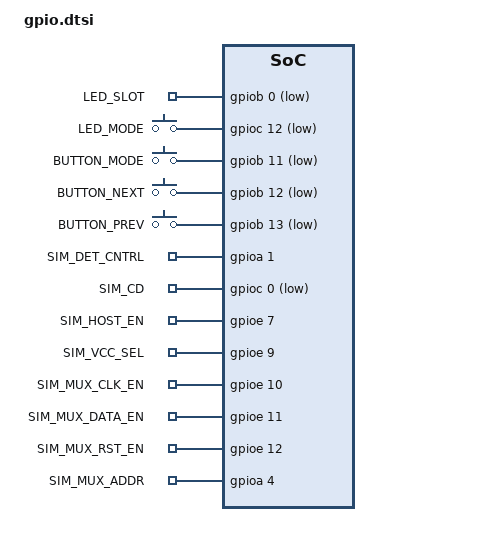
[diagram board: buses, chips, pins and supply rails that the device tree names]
/* Copyright 2023 The Chromium OS Authors. All rights reserved.
 * Use of this source code is governed by a BSD-style license that can be
 * found in the LICENSE file.
 */

/ {
	gpio {
		led {
			compatible = "gpio-keys";
			label = "LED";
			led_sim_slot {
				label = "LED_SLOT";
				gpios = <&gpiob 0 GPIO_ACTIVE_LOW>,
						<&gpiob 1 GPIO_ACTIVE_LOW>,
						<&gpiob 2 GPIO_ACTIVE_LOW>,
						<&gpiob 3 GPIO_ACTIVE_LOW>,
						<&gpiob 5 GPIO_ACTIVE_LOW>,
						<&gpiob 9 GPIO_ACTIVE_LOW>,
						<&gpiob 10 GPIO_ACTIVE_LOW>,
						<&gpiob 15 GPIO_ACTIVE_LOW>;
			};
			led_mode {
				label = "LED_MODE";
				gpios = <&gpioc 12 GPIO_ACTIVE_LOW>,
						<&gpioc 13 GPIO_ACTIVE_LOW>;
			};
		};
		button {
			compatible = "gpio-keys";
			label = "BUTTON";
			mode {
				label = "BUTTON_MODE";
				gpios = <&gpiob 11 (GPIO_ACTIVE_LOW)>;
			};
			next {
				label = "BUTTON_NEXT";
				gpios = <&gpiob 12 GPIO_ACTIVE_LOW>;
			};
			prev {
				label = "BUTTON_PREV";
				gpios = <&gpiob 13 GPIO_ACTIVE_LOW>;
			};
		};
		sim {
			compatible = "gpio-keys";
			label = "SIM";
			sim_det_cntrl {
				label = "SIM_DET_CNTRL";
				gpios = <&gpioa 1 GPIO_ACTIVE_HIGH>;
			};
			chip_detect {
				label = "SIM_CD";
				gpios = <&gpioc 0 GPIO_ACTIVE_LOW>,
						<&gpioc 1 GPIO_ACTIVE_LOW>,
						<&gpioc 2 GPIO_ACTIVE_LOW>,
						<&gpioc 3 GPIO_ACTIVE_LOW>,
						<&gpioc 4 GPIO_ACTIVE_LOW>,
						<&gpioc 5 GPIO_ACTIVE_LOW>,
						<&gpioc 6 GPIO_ACTIVE_LOW>,
						<&gpioc 7 GPIO_ACTIVE_LOW>;
			};
			/* Control the voltage shifter */
			sim_host_en {
				label = "SIM_HOST_EN";
				gpios = <&gpioe 7 GPIO_ACTIVE_HIGH>;
			};
			sim_vcc_sel {
				label = "SIM_VCC_SEL";
				gpios = <&gpioe 9 GPIO_ACTIVE_HIGH>;
			};
			/* Control the ESIM Muxes */
			sim_mux_clk_en {
				label = "SIM_MUX_CLK_EN";
				gpios = <&gpioe 10 GPIO_ACTIVE_HIGH>;
			};
			sim_mux_data_en {
				label = "SIM_MUX_DATA_EN";
				gpios = <&gpioe 11 GPIO_ACTIVE_HIGH>;
			};
			sim_mux_rst_en {
				label = "SIM_MUX_RST_EN";
				gpios = <&gpioe 12 GPIO_ACTIVE_HIGH>;
			};
			sim_mux_addr {
				label = "SIM_MUX_ADDR";
				gpios = <&gpioa 4 GPIO_ACTIVE_HIGH>,
						<&gpioa 5 GPIO_ACTIVE_HIGH>,
						<&gpioa 6 GPIO_ACTIVE_HIGH>;
			};
		};
	};
};
